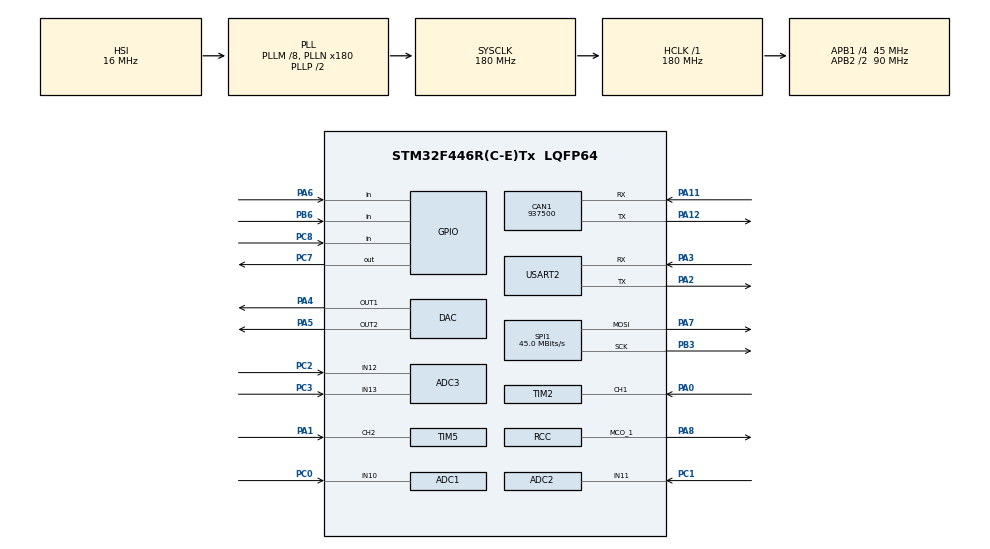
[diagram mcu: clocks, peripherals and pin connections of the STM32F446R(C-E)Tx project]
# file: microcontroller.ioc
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ADC1.Channel-0\#ChannelRegularConversion=ADC_CHANNEL_10
ADC1.NbrOfConversionFlag=1
ADC1.Rank-0\#ChannelRegularConversion=1
ADC1.SamplingTime-0\#ChannelRegularConversion=ADC_SAMPLETIME_3CYCLES
ADC1.master=1
ADC2.Channel-2\#ChannelRegularConversion=ADC_CHANNEL_11
ADC2.NbrOfConversionFlag=1
ADC2.Rank-2\#ChannelRegularConversion=1
ADC2.SamplingTime-2\#ChannelRegularConversion=ADC_SAMPLETIME_3CYCLES
ADC3.Channel-0\#ChannelRegularConversion=ADC_CHANNEL_12
ADC3.NbrOfConversionFlag=1
ADC3.Rank-0\#ChannelRegularConversion=1
ADC3.SamplingTime-0\#ChannelRegularConversion=ADC_SAMPLETIME_3CYCLES
CAN1.CalculateBaudRate=937500
CAN1.CalculateTimeBit=1066
CAN1.CalculateTimeQuantum=355.55555555555554
Mcu.Family=STM32F4
Mcu.Name=STM32F446R(C-E)Tx
Mcu.Package=LQFP64
NVIC.ADC_IRQn=true\:0\:0\:false\:false\:true\:true\:true\:true
NVIC.PriorityGroup=NVIC_PRIORITYGROUP_4
NVIC.TIM2_IRQn=true\:0\:0\:false\:false\:true\:true\:true\:true
NVIC.TIM5_IRQn=true\:0\:0\:false\:false\:true\:true\:true\:true
NVIC.TIM6_DAC_IRQn=true\:0\:0\:false\:false\:true\:true\:true\:true
NVIC.USART2_IRQn=true\:0\:0\:false\:false\:true\:true\:true\:true
PA0-WKUP.Signal=S_TIM2_CH1_ETR
PA1.Signal=S_TIM5_CH2
PA11.Mode=CAN_Activate
PA11.Signal=CAN1_RX
PA12.Mode=CAN_Activate
PA12.Signal=CAN1_TX
PA2.Mode=Asynchronous
PA2.Signal=USART2_TX
PA3.Mode=Asynchronous
PA3.Signal=USART2_RX
PA4.Signal=COMP_DAC1_group
PA5.Signal=COMP_DAC2_group
PA6.Signal=GPIO_Input
PA7.Mode=TX_Only_Simplex_Unidirect_Master
PA7.Signal=SPI1_MOSI
PA8.Mode=Clock-out-1
PA8.Signal=RCC_MCO_1
PB3.Mode=TX_Only_Simplex_Unidirect_Master
PB3.Signal=SPI1_SCK
PB6.Signal=GPIO_Input
PC0.Signal=ADCx_IN10
PC1.Signal=ADCx_IN11
PC14-OSC32_IN.Mode=LSE-External-Oscillator
PC14-OSC32_IN.Signal=RCC_OSC32_IN
PC15-OSC32_OUT.Mode=LSE-External-Oscillator
PC15-OSC32_OUT.Signal=RCC_OSC32_OUT
PC2.Signal=ADCx_IN12
PC3.Signal=ADCx_IN13
PC7.GPIO_ModeDefaultOutputPP=GPIO_MODE_OUTPUT_OD
PC7.GPIO_PuPd=GPIO_PULLUP
PC7.Signal=GPIO_Output
PC8.Signal=GPIO_Input
ProjectManager.HeapSize=0x200
ProjectManager.StackSize=0x400
ProjectManager.TargetToolchain=STM32CubeIDE
RCC.AHBFreq_Value=180000000
RCC.APB1CLKDivider=RCC_HCLK_DIV4
RCC.APB1Freq_Value=45000000
RCC.APB1TimFreq_Value=90000000
RCC.APB2CLKDivider=RCC_HCLK_DIV2
RCC.APB2Freq_Value=90000000
RCC.APB2TimFreq_Value=180000000
RCC.CortexFreq_Value=180000000
RCC.HCLKFreq_Value=180000000
RCC.PLLM=8
RCC.PLLN=180
RCC.PLLQ=3
RCC.RCC_MCO1Source=RCC_MCO1SOURCE_LSE
RCC.SDIOCLockSelection=RCC_SDIOCLKSOURCE_SYSCLK
RCC.SYSCLKFreq_VALUE=180000000
RCC.SYSCLKSource=RCC_SYSCLKSOURCE_PLLCLK
RCC.USBFreq_Value=120000000
RCC.VCOOutputFreq_Value=360000000
SH.ADCx_IN10.0=ADC1_IN10,IN10
SH.ADCx_IN11.0=ADC2_IN11,IN11
SH.ADCx_IN12.0=ADC3_IN12,IN12
SH.ADCx_IN13.0=ADC3_IN13,IN13
SH.COMP_DAC1_group.0=DAC_OUT1,DAC_OUT1
SH.COMP_DAC2_group.0=DAC_OUT2,DAC_OUT2
SH.S_TIM2_CH1_ETR.0=TIM2_CH1,Input_Capture1_from_TI1
SH.S_TIM5_CH2.0=TIM5_CH2,Input_Capture2_from_TI2
SPI1.CalculateBaudRate=45.0 MBits/s
SPI1.Direction=SPI_DIRECTION_2LINES
SPI1.Mode=SPI_MODE_MASTER
SPI1.VirtualType=VM_MASTER
TIM2.Channel-Input_Capture1_from_TI1=TIM_CHANNEL_1
TIM5.Channel-Input_Capture2_from_TI2=TIM_CHANNEL_2
USART2.VirtualMode=VM_ASYNC
VP_FATFS_VS_Generic.Mode=User_defined
VP_TIM2_VS_ClockSourceINT.Mode=Internal
VP_TIM5_VS_ClockSourceINT.Mode=Internal
board=custom

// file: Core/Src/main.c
/* USER CODE BEGIN Header */
/**
 ******************************************************************************
 * @file           : main.c
 * @brief          : Main program body
 ******************************************************************************
 * @attention
 *
 * Copyright (c) 2023 STMicroelectronics.
 * All rights reserved.
 *
 * This software is licensed under terms that can be found in the LICENSE file
 * in the root directory of this software component.
 * If no LICENSE file comes with this software, it is provided AS-IS.
 *
 ******************************************************************************
 */
/* USER CODE END Header */
#include "main.h"
#include "fatfs.h"

/* USER CODE BEGIN Includes */
#include "pedcon.h"
#include "frequency.h"
#include "comm.h"
#include "sdlog.h"
#include "calc.h"
#include "retarget.h"
#include "lut.h"
/* USER CODE END Includes */

ADC_HandleTypeDef hadc1;
ADC_HandleTypeDef hadc2;
ADC_HandleTypeDef hadc3;

CAN_HandleTypeDef hcan1;

DAC_HandleTypeDef hdac;

SPI_HandleTypeDef hspi1;

TIM_HandleTypeDef htim2;
TIM_HandleTypeDef htim5;

UART_HandleTypeDef huart2;

/* USER CODE BEGIN PV */
CAN_RxHeaderTypeDef rxHeader; //CAN Bus Transmit Header
CAN_TxHeaderTypeDef txHeader; //CAN Bus Receive Header
uint8_t canRX[6];  //CAN Bus Receive Buffer
CAN_FilterTypeDef canfil; //CAN Bus Filter
CAN_FilterTypeDef canfil1; //CAN Bus Filter
CAN_FilterTypeDef canfil2; //CAN Bus Filter
CAN_FilterTypeDef canfil3; //CAN Bus Filter
uint32_t canMailbox; //CAN Bus Mail box variable

int loop;
uint16_t voltage;
uint16_t RPM;
uint16_t current;
uint16_t power;

uint16_t APPS_ON = 0;
/* USER CODE END PV */

void SystemClock_Config(void);
static void MX_GPIO_Init(void);
static void MX_ADC1_Init(void);
static void MX_CAN1_Init(void);
static void MX_DAC_Init(void);
static void MX_TIM2_Init(void);
static void MX_TIM5_Init(void);
static void MX_ADC2_Init(void);
static void MX_ADC3_Init(void);
static void MX_USART2_UART_Init(void);
static void MX_SPI1_Init(void);
/* USER CODE BEGIN PFP */
//SD Card Globals
FRESULT file_res;
char *file_name = NULL;
short int detect = 0;
short int detect_last = 0;
int file_length = 0;
char buffer[100];
int file_index = 0;
/* USER CODE END PFP */

/* USER CODE BEGIN 0 */
pedal_con pedal;
frequency_data tim2;
frequency_data tim5;
throttle_percents throttle;
/* USER CODE END 0 */

int main(void)
{
  /* USER CODE BEGIN 1 */
	/*pedal_con pedal;
	 pedal.first_v = 0;
	 pedal.second_v = 0;
	 pedal.user_v = 0;*/

  /* USER CODE END 1 */

  /* MCU Configuration--------------------------------------------------------*/

  /* Reset of all peripherals, Initializes the Flash interface and the Systick. */
  HAL_Init();

  /* Configure the system clock */
  SystemClock_Config();

  /* USER CODE BEGIN SysInit */
	canfil.FilterMode = CAN_FILTERMODE_IDMASK;
	  canfil.FilterFIFOAssignment = CAN_RX_FIFO0;
	  canfil.FilterIdHigh = 0x0A5<<5;
	  canfil.FilterIdLow = 0;
	  canfil.FilterMaskIdHigh = 0xFFFF;
	  canfil.FilterMaskIdLow = 0;
	  canfil.FilterScale = CAN_FILTERSCALE_32BIT;
	  canfil.FilterActivation = ENABLE;

		canfil1.FilterBank = 1;
	  canfil1.FilterMode = CAN_FILTERMODE_IDMASK;
	  canfil1.FilterFIFOAssignment = CAN_RX_FIFO0;
	  canfil1.FilterIdHigh = 0x0A6<<5;
	  canfil1.FilterIdLow = 0;
	  canfil1.FilterMaskIdHigh = 0xFFFF;
	  canfil1.FilterMaskIdLow = 0;
	  canfil1.FilterScale = CAN_FILTERSCALE_32BIT;
	  canfil1.FilterActivation = ENABLE;

		canfil2.FilterBank = 2;
	  canfil2.FilterMode = CAN_FILTERMODE_IDMASK;
	  canfil2.FilterFIFOAssignment = CAN_RX_FIFO0;
	  canfil2.FilterIdHigh = 0x0A7<<5;
	  canfil2.FilterIdLow = 0;
	  canfil2.FilterMaskIdHigh = 0xFFFF;
	  canfil2.FilterMaskIdLow = 0;
	  canfil2.FilterScale = CAN_FILTERSCALE_32BIT;
	  canfil2.FilterActivation = ENABLE;

		canfil3.FilterBank = 3;
	  canfil3.FilterMode = CAN_FILTERMODE_IDMASK;
	  canfil3.FilterFIFOAssignment = CAN_RX_FIFO0;
	  canfil3.FilterIdHigh = 0x0AA<<5;
	  canfil3.FilterIdLow = 0;
	  canfil3.FilterMaskIdHigh = 0xFFFF;
	  canfil3.FilterMaskIdLow = 0;
	  canfil3.FilterScale = CAN_FILTERSCALE_32BIT;
	  canfil3.FilterActivation = ENABLE;

	  txHeader.DLC = 8;
	  txHeader.IDE = CAN_ID_STD;
	  txHeader.RTR = CAN_RTR_DATA;
	  txHeader.StdId = 0x103;
	  txHeader.ExtId = 0x02;
	  txHeader.TransmitGlobalTime = DISABLE;

	  HAL_CAN_ConfigFilter(&hcan1,&canfil);
	  HAL_CAN_ConfigFilter(&hcan1,&canfil1);
	  HAL_CAN_ConfigFilter(&hcan1,&canfil2);
	  HAL_CAN_ConfigFilter(&hcan1,&canfil3);

	  HAL_CAN_Start(&hcan1);
	  HAL_CAN_ActivateNotification(&hcan1,CAN_IT_RX_FIFO0_MSG_PENDING);
	  RetargetInit(&huart2);
  /* USER CODE END SysInit */

  /* Initialize all configured peripherals */
  MX_GPIO_Init();
  MX_ADC1_Init();
  MX_CAN1_Init();
  MX_DAC_Init();
  MX_TIM2_Init();
  MX_TIM5_Init();
  MX_ADC2_Init();
  MX_ADC3_Init();
  MX_USART2_UART_Init();
  MX_SPI1_Init();
  MX_FATFS_Init();
  /* USER CODE BEGIN 2 */
	HAL_TIM_IC_Start_IT(&htim2, TIM_CHANNEL_1);
	HAL_TIM_IC_Start_IT(&htim5, TIM_CHANNEL_2);
	HAL_ADC_Start_IT(&hadc1);
	HAL_ADC_Start_IT(&hadc2);
	HAL_ADC_Start_IT(&hadc3);
	HAL_DAC_Start(&hdac, 1);
	HAL_DAC_Start(&hdac, 2);
	HAL_CAN_Start(&hcan1);
	htim2.Channel = HAL_TIM_ACTIVE_CHANNEL_1;
	htim5.Channel = HAL_TIM_ACTIVE_CHANNEL_2;

	if (sd_mount("/") == FR_OK)
		//SD card detected
		detect = 1;
	else
		//SD card not detected
		detect = 0;
	sd_unmount("/");

  /* USER CODE END 2 */

  /* Infinite loop */
  /* USER CODE BEGIN WHILE */
	while (1) {

	        if (!voltage_offset(pedal.first_v, pedal.second_v)
	                || !voltage_check(pedal.user_v)) {
	            pedal.time_check += 1;  // INCREMENT FAULT BY 1
	        } else { // INCREMENT FAULT BY -1 OR RUN
	            if (HAL_GPIO_ReadPin(GPIOC, GPIO_PIN_7)) {
	                HAL_GPIO_TogglePin(GPIOC, GPIO_PIN_7); //Turn off APPS if already active (Goes back to normal)
	                APPS_ON = 0;
	            }
	            if (pedal.time_check > 0) {
	                pedal.time_check -= 1;
	            }
	            if (pedal.time_check == 0) {
	                pedal.time_check_true = 1; // PEDALS ARE GOOD TO GO

	            }
	        }

	        if (time_fault_check(pedal.time_check) && pedal.time_check_true) {
	            // WRITE THROTTLE OUT
	        } else { // ELSE DON'T GIVE CAR ANY THROTTLE
	            if (!HAL_GPIO_ReadPin(GPIOC, GPIO_PIN_7)) {
	                HAL_GPIO_TogglePin(GPIOC, GPIO_PIN_7);
	                APPS_ON = 1;
	            } // TRIGGER APPS SIGNAL
	            if (time_fault_check(pedal.time_check)) {
	                pedal.time_check_true = 0;
	            }
	    }

		// Write out to SD card

		//SD Logging:
		/*if(HAL_GPIO_ReadPin(GPIOB, GPIO_PIN_6)){
		 sd_unmount("/");
		 file_res = sd_mount("/");
		 if(file_res == FR_OK){
		 detect = 1;
		 if(detect_last == 0 && detect == 1 || !file_name){
		 //Create a new file
		 //With Headers:
		 //sprintf(<header1>, "<type>", <header_value>)
		 //file_length = strlen(header1) + ... + strlen(headerN);
		 //file_name = (char *) malloc (file_length * sizeof(char))
		 //snprintf(file_name, file_length, "<type1> - ... - <typeN>", <value1>, ... , <valueN>);
		 //sd_format();
		 //file_res = file_create(file_name);
		 //sd_unmount("/");
		 //csv_header(file_name, file_length);
		 //detect_last = detect;
		 }
		 //Turn on LED
		 //HAL_GPIO_WritePin(GPIO pin, function, 1)
		 csv_update(file_name, file_length);
		 file_index++;
		 } else{
		 if(file_name){
		 free(file_name);
		 file_name = NULL;
		 }
		 detect = 0;
		 //Turn LED off when not detected
		 //HAL_GPIO_WritePin(GPIO pin, function, 0)
		 detect_last = detect;
		 }
		 } else {
		 if(file_name){
		 free(file_name);
		 file_name = NULL;
		 }
		 detect = 0;
		 //Turn LED off when not detected
		 //HAL_GPIO_WritePin(GPIO pin, function, 0)

		 detect_last = detect;

		 }*/

    /* USER CODE END WHILE */

	}
}

void SystemClock_Config(void)
{
  RCC_OscInitTypeDef RCC_OscInitStruct = {0};
  RCC_ClkInitTypeDef RCC_ClkInitStruct = {0};

  /** Configure the main internal regulator output voltage
  */
  __HAL_RCC_PWR_CLK_ENABLE();
  __HAL_PWR_VOLTAGESCALING_CONFIG(PWR_REGULATOR_VOLTAGE_SCALE1);

  /** Initializes the RCC Oscillators according to the specified parameters
  * in the RCC_OscInitTypeDef structure.
  */
  RCC_OscInitStruct.OscillatorType = RCC_OSCILLATORTYPE_HSI|RCC_OSCILLATORTYPE_LSE;
  RCC_OscInitStruct.LSEState = RCC_LSE_ON;
  RCC_OscInitStruct.HSIState = RCC_HSI_ON;
  RCC_OscInitStruct.HSICalibrationValue = RCC_HSICALIBRATION_DEFAULT;
  RCC_OscInitStruct.PLL.PLLState = RCC_PLL_ON;
  RCC_OscInitStruct.PLL.PLLSource = RCC_PLLSOURCE_HSI;
  RCC_OscInitStruct.PLL.PLLM = 8;
  RCC_OscInitStruct.PLL.PLLN = 180;
  RCC_OscInitStruct.PLL.PLLP = RCC_PLLP_DIV2;
  RCC_OscInitStruct.PLL.PLLQ = 3;
  RCC_OscInitStruct.PLL.PLLR = 2;
  if (HAL_RCC_OscConfig(&RCC_OscInitStruct) != HAL_OK)
  {
    Error_Handler();
  }

  /** Activate the Over-Drive mode
  */
  if (HAL_PWREx_EnableOverDrive() != HAL_OK)
  {
    Error_Handler();
  }

  /** Initializes the CPU, AHB and APB buses clocks
  */
  RCC_ClkInitStruct.ClockType = RCC_CLOCKTYPE_HCLK|RCC_CLOCKTYPE_SYSCLK
                              |RCC_CLOCKTYPE_PCLK1|RCC_CLOCKTYPE_PCLK2;
  RCC_ClkInitStruct.SYSCLKSource = RCC_SYSCLKSOURCE_PLLCLK;
  RCC_ClkInitStruct.AHBCLKDivider = RCC_SYSCLK_DIV1;
  RCC_ClkInitStruct.APB1CLKDivider = RCC_HCLK_DIV4;
  RCC_ClkInitStruct.APB2CLKDivider = RCC_HCLK_DIV2;

  if (HAL_RCC_ClockConfig(&RCC_ClkInitStruct, FLASH_LATENCY_5) != HAL_OK)
  {
    Error_Handler();
  }
  HAL_RCC_MCOConfig(RCC_MCO1, RCC_MCO1SOURCE_LSE, RCC_MCODIV_1);
}

static void MX_ADC1_Init(void)
{

  ADC_ChannelConfTypeDef sConfig = {0};

  /** Configure the global features of the ADC (Clock, Resolution, Data Alignment and number of conversion)
  */
  hadc1.Instance = ADC1;
  hadc1.Init.ClockPrescaler = ADC_CLOCK_SYNC_PCLK_DIV4;
  hadc1.Init.Resolution = ADC_RESOLUTION_12B;
  hadc1.Init.ScanConvMode = DISABLE;
  hadc1.Init.ContinuousConvMode = DISABLE;
  hadc1.Init.DiscontinuousConvMode = DISABLE;
  hadc1.Init.ExternalTrigConvEdge = ADC_EXTERNALTRIGCONVEDGE_NONE;
  hadc1.Init.ExternalTrigConv = ADC_SOFTWARE_START;
  hadc1.Init.DataAlign = ADC_DATAALIGN_RIGHT;
  hadc1.Init.NbrOfConversion = 1;
  hadc1.Init.DMAContinuousRequests = DISABLE;
  hadc1.Init.EOCSelection = ADC_EOC_SINGLE_CONV;
  if (HAL_ADC_Init(&hadc1) != HAL_OK)
  {
    Error_Handler();
  }

  /** Configure for the selected ADC regular channel its corresponding rank in the sequencer and its sample time.
  */
  sConfig.Channel = ADC_CHANNEL_10;
  sConfig.Rank = 1;
  sConfig.SamplingTime = ADC_SAMPLETIME_3CYCLES;
  if (HAL_ADC_ConfigChannel(&hadc1, &sConfig) != HAL_OK)
  {
    Error_Handler();
  }

}

static void MX_ADC2_Init(void)
{

  ADC_ChannelConfTypeDef sConfig = {0};

  /** Configure the global features of the ADC (Clock, Resolution, Data Alignment and number of conversion)
  */
  hadc2.Instance = ADC2;
  hadc2.Init.ClockPrescaler = ADC_CLOCK_SYNC_PCLK_DIV4;
  hadc2.Init.Resolution = ADC_RESOLUTION_12B;
  hadc2.Init.ScanConvMode = DISABLE;
  hadc2.Init.ContinuousConvMode = DISABLE;
  hadc2.Init.DiscontinuousConvMode = DISABLE;
  hadc2.Init.ExternalTrigConvEdge = ADC_EXTERNALTRIGCONVEDGE_NONE;
  hadc2.Init.ExternalTrigConv = ADC_SOFTWARE_START;
  hadc2.Init.DataAlign = ADC_DATAALIGN_RIGHT;
  hadc2.Init.NbrOfConversion = 1;
  hadc2.Init.DMAContinuousRequests = DISABLE;
  hadc2.Init.EOCSelection = ADC_EOC_SINGLE_CONV;
  if (HAL_ADC_Init(&hadc2) != HAL_OK)
  {
    Error_Handler();
  }

  /** Configure for the selected ADC regular channel its corresponding rank in the sequencer and its sample time.
  */
  sConfig.Channel = ADC_CHANNEL_11;
  sConfig.Rank = 1;
  sConfig.SamplingTime = ADC_SAMPLETIME_3CYCLES;
  if (HAL_ADC_ConfigChannel(&hadc2, &sConfig) != HAL_OK)
  {
    Error_Handler();
  }

}

static void MX_ADC3_Init(void)
{

  ADC_ChannelConfTypeDef sConfig = {0};

  /** Configure the global features of the ADC (Clock, Resolution, Data Alignment and number of conversion)
  */
  hadc3.Instance = ADC3;
  hadc3.Init.ClockPrescaler = ADC_CLOCK_SYNC_PCLK_DIV4;
  hadc3.Init.Resolution = ADC_RESOLUTION_12B;
  hadc3.Init.ScanConvMode = DISABLE;
  hadc3.Init.ContinuousConvMode = DISABLE;
  hadc3.Init.DiscontinuousConvMode = DISABLE;
  hadc3.Init.ExternalTrigConvEdge = ADC_EXTERNALTRIGCONVEDGE_NONE;
  hadc3.Init.ExternalTrigConv = ADC_SOFTWARE_START;
  hadc3.Init.DataAlign = ADC_DATAALIGN_RIGHT;
  hadc3.Init.NbrOfConversion = 1;
  hadc3.Init.DMAContinuousRequests = DISABLE;
  hadc3.Init.EOCSelection = ADC_EOC_SINGLE_CONV;
  if (HAL_ADC_Init(&hadc3) != HAL_OK)
  {
    Error_Handler();
  }

  /** Configure for the selected ADC regular channel its corresponding rank in the sequencer and its sample time.
  */
  sConfig.Channel = ADC_CHANNEL_12;
  sConfig.Rank = 1;
  sConfig.SamplingTime = ADC_SAMPLETIME_3CYCLES;
  if (HAL_ADC_ConfigChannel(&hadc3, &sConfig) != HAL_OK)
  {
    Error_Handler();
  }

}

static void MX_CAN1_Init(void)
{

  hcan1.Instance = CAN1;
  hcan1.Init.Prescaler = 16;
  hcan1.Init.Mode = CAN_MODE_NORMAL;
  hcan1.Init.SyncJumpWidth = CAN_SJW_1TQ;
  hcan1.Init.TimeSeg1 = CAN_BS1_1TQ;
  hcan1.Init.TimeSeg2 = CAN_BS2_1TQ;
  hcan1.Init.TimeTriggeredMode = DISABLE;
  hcan1.Init.AutoBusOff = DISABLE;
  hcan1.Init.AutoWakeUp = DISABLE;
  hcan1.Init.AutoRetransmission = DISABLE;
  hcan1.Init.ReceiveFifoLocked = DISABLE;
  hcan1.Init.TransmitFifoPriority = DISABLE;
  if (HAL_CAN_Init(&hcan1) != HAL_OK)
  {
    Error_Handler();
  }

}

static void MX_DAC_Init(void)
{

  DAC_ChannelConfTypeDef sConfig = {0};

  /** DAC Initialization
  */
  hdac.Instance = DAC;
  if (HAL_DAC_Init(&hdac) != HAL_OK)
  {
    Error_Handler();
  }

  /** DAC channel OUT1 config
  */
  sConfig.DAC_Trigger = DAC_TRIGGER_NONE;
  sConfig.DAC_OutputBuffer = DAC_OUTPUTBUFFER_ENABLE;
  if (HAL_DAC_ConfigChannel(&hdac, &sConfig, DAC_CHANNEL_1) != HAL_OK)
  {
    Error_Handler();
  }

  /** DAC channel OUT2 config
  */
  if (HAL_DAC_ConfigChannel(&hdac, &sConfig, DAC_CHANNEL_2) != HAL_OK)
  {
    Error_Handler();
  }

}

static void MX_SPI1_Init(void)
{

  /* SPI1 parameter configuration*/
  hspi1.Instance = SPI1;
  hspi1.Init.Mode = SPI_MODE_MASTER;
  hspi1.Init.Direction = SPI_DIRECTION_2LINES;
  hspi1.Init.DataSize = SPI_DATASIZE_8BIT;
  hspi1.Init.CLKPolarity = SPI_POLARITY_LOW;
  hspi1.Init.CLKPhase = SPI_PHASE_1EDGE;
  hspi1.Init.NSS = SPI_NSS_SOFT;
  hspi1.Init.BaudRatePrescaler = SPI_BAUDRATEPRESCALER_2;
  hspi1.Init.FirstBit = SPI_FIRSTBIT_MSB;
  hspi1.Init.TIMode = SPI_TIMODE_DISABLE;
  hspi1.Init.CRCCalculation = SPI_CRCCALCULATION_DISABLE;
  hspi1.Init.CRCPolynomial = 10;
  if (HAL_SPI_Init(&hspi1) != HAL_OK)
  {
    Error_Handler();
  }

}

static void MX_TIM2_Init(void)
{

  TIM_ClockConfigTypeDef sClockSourceConfig = {0};
  TIM_MasterConfigTypeDef sMasterConfig = {0};
  TIM_IC_InitTypeDef sConfigIC = {0};

  htim2.Instance = TIM2;
  htim2.Init.Prescaler = 0;
  htim2.Init.CounterMode = TIM_COUNTERMODE_UP;
  htim2.Init.Period = 4294967295;
  htim2.Init.ClockDivision = TIM_CLOCKDIVISION_DIV1;
  htim2.Init.AutoReloadPreload = TIM_AUTORELOAD_PRELOAD_DISABLE;
  if (HAL_TIM_Base_Init(&htim2) != HAL_OK)
  {
    Error_Handler();
  }
  sClockSourceConfig.ClockSource = TIM_CLOCKSOURCE_INTERNAL;
  if (HAL_TIM_ConfigClockSource(&htim2, &sClockSourceConfig) != HAL_OK)
  {
    Error_Handler();
  }
  if (HAL_TIM_IC_Init(&htim2) != HAL_OK)
  {
    Error_Handler();
  }
  sMasterConfig.MasterOutputTrigger = TIM_TRGO_RESET;
  sMasterConfig.MasterSlaveMode = TIM_MASTERSLAVEMODE_DISABLE;
  if (HAL_TIMEx_MasterConfigSynchronization(&htim2, &sMasterConfig) != HAL_OK)
  {
    Error_Handler();
  }
  sConfigIC.ICPolarity = TIM_INPUTCHANNELPOLARITY_RISING;
  sConfigIC.ICSelection = TIM_ICSELECTION_DIRECTTI;
  sConfigIC.ICPrescaler = TIM_ICPSC_DIV1;
  sConfigIC.ICFilter = 0;
  if (HAL_TIM_IC_ConfigChannel(&htim2, &sConfigIC, TIM_CHANNEL_1) != HAL_OK)
  {
    Error_Handler();
  }

}

static void MX_TIM5_Init(void)
{

  TIM_ClockConfigTypeDef sClockSourceConfig = {0};
  TIM_MasterConfigTypeDef sMasterConfig = {0};
  TIM_IC_InitTypeDef sConfigIC = {0};

  htim5.Instance = TIM5;
  htim5.Init.Prescaler = 0;
  htim5.Init.CounterMode = TIM_COUNTERMODE_UP;
  htim5.Init.Period = 4294967295;
  htim5.Init.ClockDivision = TIM_CLOCKDIVISION_DIV1;
  htim5.Init.AutoReloadPreload = TIM_AUTORELOAD_PRELOAD_DISABLE;
  if (HAL_TIM_Base_Init(&htim5) != HAL_OK)
  {
    Error_Handler();
  }
  sClockSourceConfig.ClockSource = TIM_CLOCKSOURCE_INTERNAL;
  if (HAL_TIM_ConfigClockSource(&htim5, &sClockSourceConfig) != HAL_OK)
  {
    Error_Handler();
  }
  if (HAL_TIM_IC_Init(&htim5) != HAL_OK)
  {
    Error_Handler();
  }
  sMasterConfig.MasterOutputTrigger = TIM_TRGO_RESET;
  sMasterConfig.MasterSlaveMode = TIM_MASTERSLAVEMODE_DISABLE;
  if (HAL_TIMEx_MasterConfigSynchronization(&htim5, &sMasterConfig) != HAL_OK)
  {
    Error_Handler();
  }
  sConfigIC.ICPolarity = TIM_INPUTCHANNELPOLARITY_RISING;
  sConfigIC.ICSelection = TIM_ICSELECTION_DIRECTTI;
  sConfigIC.ICPrescaler = TIM_ICPSC_DIV1;
  sConfigIC.ICFilter = 0;
  if (HAL_TIM_IC_ConfigChannel(&htim5, &sConfigIC, TIM_CHANNEL_2) != HAL_OK)
  {
    Error_Handler();
  }

}

static void MX_USART2_UART_Init(void)
{

  huart2.Instance = USART2;
  huart2.Init.BaudRate = 115200;
  huart2.Init.WordLength = UART_WORDLENGTH_8B;
  huart2.Init.StopBits = UART_STOPBITS_1;
  huart2.Init.Parity = UART_PARITY_NONE;
  huart2.Init.Mode = UART_MODE_TX_RX;
  huart2.Init.HwFlowCtl = UART_HWCONTROL_NONE;
  huart2.Init.OverSampling = UART_OVERSAMPLING_16;
  if (HAL_UART_Init(&huart2) != HAL_OK)
  {
    Error_Handler();
  }

}

static void MX_GPIO_Init(void)
{
  GPIO_InitTypeDef GPIO_InitStruct = {0};

  /* GPIO Ports Clock Enable */
  __HAL_RCC_GPIOC_CLK_ENABLE();
  __HAL_RCC_GPIOA_CLK_ENABLE();
  __HAL_RCC_GPIOB_CLK_ENABLE();

  /*Configure GPIO pin Output Level */
  HAL_GPIO_WritePin(GPIOC, GPIO_PIN_7, GPIO_PIN_RESET);

  /*Configure GPIO pin : PA6 */
  GPIO_InitStruct.Pin = GPIO_PIN_6;
  GPIO_InitStruct.Mode = GPIO_MODE_INPUT;
  GPIO_InitStruct.Pull = GPIO_NOPULL;
  HAL_GPIO_Init(GPIOA, &GPIO_InitStruct);

  /*Configure GPIO pin : PC7 */
  GPIO_InitStruct.Pin = GPIO_PIN_7;
  GPIO_InitStruct.Mode = GPIO_MODE_OUTPUT_OD;
  GPIO_InitStruct.Pull = GPIO_PULLUP;
  GPIO_InitStruct.Speed = GPIO_SPEED_FREQ_LOW;
  HAL_GPIO_Init(GPIOC, &GPIO_InitStruct);

  /*Configure GPIO pin : PC8 */
  GPIO_InitStruct.Pin = GPIO_PIN_8;
  GPIO_InitStruct.Mode = GPIO_MODE_INPUT;
  GPIO_InitStruct.Pull = GPIO_NOPULL;
  HAL_GPIO_Init(GPIOC, &GPIO_InitStruct);

  /*Configure GPIO pin : PA8 */
  GPIO_InitStruct.Pin = GPIO_PIN_8;
  GPIO_InitStruct.Mode = GPIO_MODE_AF_PP;
  GPIO_InitStruct.Pull = GPIO_NOPULL;
  GPIO_InitStruct.Speed = GPIO_SPEED_FREQ_LOW;
  GPIO_InitStruct.Alternate = GPIO_AF0_MCO;
  HAL_GPIO_Init(GPIOA, &GPIO_InitStruct);

  /*Configure GPIO pin : PB6 */
  GPIO_InitStruct.Pin = GPIO_PIN_6;
  GPIO_InitStruct.Mode = GPIO_MODE_INPUT;
  GPIO_InitStruct.Pull = GPIO_NOPULL;
  HAL_GPIO_Init(GPIOB, &GPIO_InitStruct);

}

/* USER CODE BEGIN 4 */
//Only have access to GPIO pins in main
void csv_header(char *file_name, int file_length) {
	char name[file_length];
	strcpy(name, file_name);
	if (HAL_GPIO_ReadPin(GPIOB, GPIO_PIN_6)) {
		file_res = sd_mount("/");

		//Write to CSV using the following format for each column:
		//sprintf(buffer, "<Column Title>,");
		//update_file(name, buffer);

		file_res = file_update(name, buffer);
		sd_unmount("/");

	}
}

void csv_update(char *file_name, int file_length) {

	char name[file_length];
	strcpy(name, file_name);

	if (HAL_GPIO_ReadPin(GPIOB, GPIO_PIN_6)) {
		file_res = sd_mount("/");
		//Update CSV using following format:
		//sprintf(buffer, "<%unit>, measurement name"
		//update_file(name, buffer);

		sprintf(buffer, "\n\n");
		file_res = file_update(name, buffer);
		sd_unmount("/");
	}

}

void HAL_TIM_IC_CaptureCallback(TIM_HandleTypeDef *htim) {
	if (htim->Channel == HAL_TIM_ACTIVE_CHANNEL_1) {
		if (tim2.Is_First_Captured == 0) {
			tim2.IC_Value1 = HAL_TIM_ReadCapturedValue(htim, TIM_CHANNEL_1);
			tim2.Is_First_Captured = 1;
		} else if (tim2.Is_First_Captured) {
			tim2.IC_Value2 = HAL_TIM_ReadCapturedValue(htim, TIM_CHANNEL_1);
			if (tim2.IC_Value2 > tim2.IC_Value1) {
				tim2.Current_Frequency = tim2.Frequency;
				tim2.Difference = tim2.IC_Value2 - tim2.IC_Value1;
				tim2.Frequency = HAL_RCC_GetPCLK1Freq() / tim2.Difference;
				tim2.CalculationOK = 1;
				if (check_outliers(tim2.Current_Frequency, tim2.Frequency)) {
					if (tim2.outlier_counter >= OUTLIER_COUNT) {
						tim2.outlier_counter = 0;
						return;
					}
					if (tim2.outlier_counter == 0) {
						tim2.Good_Frequency = tim2.Current_Frequency;
					}
					++tim2.outlier_counter;
				} else {
					if (tim2.outlier_counter != 0)
						tim2.outlier_counter = 0;
				}
			} else {
				tim2.CalculationOK = 0;
			}
			tim2.Is_First_Captured = 0;
		}
	}
	if (htim->Channel == HAL_TIM_ACTIVE_CHANNEL_2) {
		if (tim5.Is_First_Captured == 0) {
			tim5.IC_Value1 = HAL_TIM_ReadCapturedValue(htim, TIM_CHANNEL_2);
			tim5.Is_First_Captured = 1;
		}
		else if (tim5.Is_First_Captured) {
			tim5.IC_Value2 = HAL_TIM_ReadCapturedValue(htim, TIM_CHANNEL_2);
			if (tim5.IC_Value2 > tim5.IC_Value1) {
				tim5.Current_Frequency = tim5.Frequency;
				tim5.Difference = tim5.IC_Value2 - tim5.IC_Value1;
				tim5.Frequency = HAL_RCC_GetPCLK1Freq() / tim5.Difference;
				tim5.CalculationOK = 1;
				if (check_outliers(tim5.Current_Frequency, tim5.Frequency)) {
					if (tim5.outlier_counter >= OUTLIER_COUNT) {
						tim5.outlier_counter = 0;
						return;
					}
					if (tim5.outlier_counter == 0) {
						tim5.Good_Frequency = tim5.Current_Frequency;
					}
					++tim5.outlier_counter;
				} else {
					if (tim5.outlier_counter != 0)
						tim5.outlier_counter = 0;
				}
			} else {
				tim5.CalculationOK = 0;
			}
			tim5.Is_First_Captured = 0;
		}

	}
}

void HAL_ADC_ConvCpltCallback(ADC_HandleTypeDef *hadc) {
	float f;
	uint16_t val;

	val = HAL_ADC_GetValue(hadc);
	if (hadc == &hadc1) { // Throttle Input 1
		push_adc_buf(&adc_buf1, val);
		f = convert_throttle_input(val);
		push_throttle_in_buf(&throttle_buf, f);
	} else if (hadc == &hadc2) { // Throttle Input 2
		push_adc_buf(&adc_buf2, val);
	} else if (hadc == &hadc3) { // Steering angle sensor, extra analog input
		push_adc_buf(&adc_buf3, val);
		f = convert_steering_wheel_angle(val);
		f = steering_wheel_angle_to_steering_angle(f);
		push_steering_angle_buf(&steering_angle_buf, f);
	}
}

void HAL_CAN_RxFifo0MsgPendingCallback(CAN_HandleTypeDef *hcan) {
	HAL_CAN_GetRxMessage(hcan, CAN_RX_FIFO0, &rxHeader, canRX);
	// HAL_GPIO_TogglePin(LD2_GPIO_Port, LD2_Pin);

	if (rxHeader.StdId == 0x0A7) {
		/*for (loop = 0; loop < 8; loop++)

			printf("%d ", canRX[loop]);
		printf("Receiving data from TxHeader: %u\r\n", rxHeader);*/
		voltage = ((canRX[1] * 256 + canRX[0]) / 10);
		//printf("Voltage %d\r\n", voltage);

	}
	if (rxHeader.StdId == 0x0A5) {
		/*for (loop = 0; loop < 8; loop++)

			printf("%d ", canRX[loop]);
		printf("Receiving data from TxHeader: %u\r\n", rxHeader);*/
		RPM = (canRX[3] * 256 + canRX[2]);
		//printf("RPM: %d\r\n", RPM);

	}
	if (rxHeader.StdId == 0x0A6) {
		/*for (loop = 0; loop < 8; loop++)

			printf("%d ", canRX[loop]);
		printf("Receiving data from TxHeader: %u\r\n", rxHeader);*/
		current = ((canRX[7] * 256 + canRX[6]) / 10);
		//printf("Current %d\r\n", current);

	}
	power = current * voltage;
	//printf("Power %d\r\n", power);

}

int __io_putchar(int ch) {
	uint8_t c[1];
	c[0] = ch & 0x00FF;
	HAL_UART_Transmit_IT(&huart2, &*c, sizeof(c));
	return ch;
}
/* USER CODE END 4 */

void Error_Handler(void)
{
	__disable_irq();
	while (1) {
	}
}
